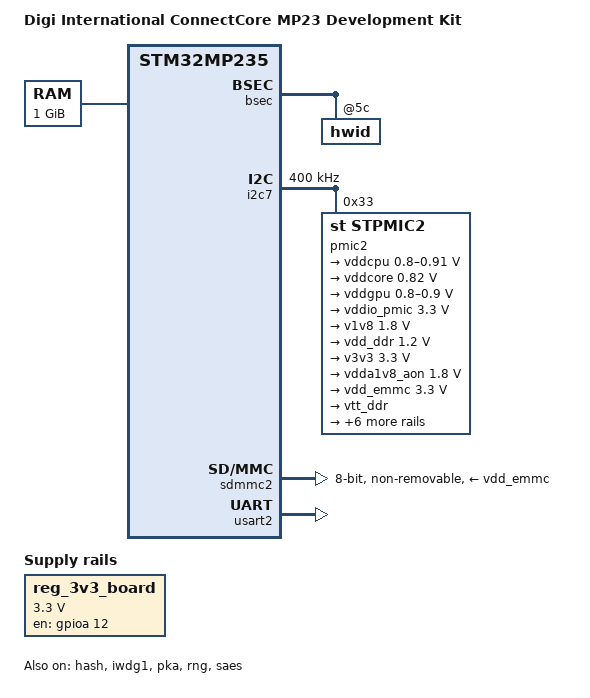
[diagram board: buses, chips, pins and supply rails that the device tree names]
// SPDX-License-Identifier: (GPL-2.0+ OR BSD-3-Clause)
/*
 * Copyright (C) STMicroelectronics 2023 - All Rights Reserved
 * Copyright (C) 2025, Digi International Inc - All Rights Reserved
 */

/dts-v1/;

#include <dt-bindings/clock/stm32mp25-clksrc.h>
#include "stm32mp235.dtsi"
#include "stm32mp23xf.dtsi"
#include "ccmp23-dvk-rcc.dtsi"
#include "stm32mp25-ddr4-1x8Gbits-1x16bits-1200MHz.dtsi"
#include "stm32mp23-pinctrl.dtsi"
#include "stm32mp25xxai-pinctrl.dtsi"

/ {
	model = "Digi International ConnectCore MP23 Development Kit";
	compatible = "digi,ccmp23-dvk", "digi,ccmp23", "st,stm32mp235";

	aliases {
		serial0 = &usart2;
	};

	chosen {
		stdout-path = "serial0:115200n8";
	};

	memory@80000000 {
		device_type = "memory";
		reg = <0x0 0x80000000 0x0 0x40000000>;
	};

	regulators {
		compatible = "simple-bus";
		#address-cells = <1>;
		#size-cells = <0>;

		reg_3v3_board: regulator-board@1 {
			compatible = "regulator-fixed";
			reg = <1>;
			regulator-name = "3v3_board";
			regulator-min-microvolt = <3300000>;
			regulator-max-microvolt = <3300000>;
			gpio = <&gpioa 12 0>; /* 3V3_BOARD_EN */
			enable-active-high;
			status = "okay";
		};
	};

	shadow-prov {
		compatible = "st,provisioning";

		hconf1_prov {
			nvmem-cells = <&hconf1_otp>;
			st,shadow-value = <0x00018000>;
		};
	};
};

&bsec {
	hwid: hwid@5c {
		reg = <0x5c 0xc>;
	};
};

&ddr {
	vdd-supply = <&vdd_ddr>;
	vtt-supply = <&vtt_ddr>;
	vpp-supply = <&vpp_ddr>;
	vref-supply = <&vref_ddr>;
};

&hash {
	status = "okay";
};

&i2c7 {
	pinctrl-names = "default";
	pinctrl-0 = <&i2c7_pins_a>;
	i2c-scl-rising-time-ns = <185>;
	i2c-scl-falling-time-ns = <20>;
	clock-frequency = <400000>;
	status = "okay";
	#address-cells = <1>;
	#size-cells = <0>;

	pmic2: stpmic@33 {
		compatible = "st,stpmic2";
		reg = <0x33>;
		status = "okay";

		regulators {
			compatible = "st,stpmic2-regulators";

			vddcpu: buck1 {
				regulator-name = "vddcpu";
				regulator-min-microvolt = <800000>;
				regulator-max-microvolt = <910000>;
				regulator-always-on;
			};
			vddcore: buck2 {
				regulator-name = "vddcore";
				regulator-min-microvolt = <820000>;
				regulator-max-microvolt = <820000>;
				regulator-always-on;
			};
			vddgpu: buck3 {
				regulator-name = "vddgpu";
				regulator-min-microvolt = <800000>;
				regulator-max-microvolt = <900000>;
				regulator-always-on;
			};
			vddio_pmic: buck4 {
				regulator-name = "vddio_pmic";
				regulator-min-microvolt = <3300000>;
				regulator-max-microvolt = <3300000>;
				regulator-always-on;
			};
			v1v8: buck5 {
				regulator-name = "v1v8";
				regulator-min-microvolt = <1800000>;
				regulator-max-microvolt = <1800000>;
				regulator-always-on;
			};
			vdd_ddr: buck6 {
				regulator-name = "vdd_ddr";
				regulator-min-microvolt = <1200000>;
				regulator-max-microvolt = <1200000>;
			};
			v3v3: buck7 {
				regulator-name = "v3v3";
				regulator-min-microvolt = <3300000>;
				regulator-max-microvolt = <3300000>;
				regulator-always-on;
			};
			vdda1v8_aon: ldo1 {
				regulator-name = "vdda1v8_aon";
				regulator-min-microvolt = <1800000>;
				regulator-max-microvolt = <1800000>;
				regulator-always-on;
			};
			vdd_emmc: ldo2 {
				regulator-name = "vdd_emmc";
				regulator-min-microvolt = <3300000>;
				regulator-max-microvolt = <3300000>;
				regulator-always-on;
			};
			vtt_ddr: ldo3 {
				regulator-name = "vtt_ddr";
				st,regulator-sink-source;
			};
			vdd3v3_usb: ldo4 {
				regulator-name = "vdd3v3_usb";
				regulator-min-microvolt = <3300000>;
				regulator-max-microvolt = <3300000>;
				regulator-always-on;
			};
			vpp_ddr: ldo5 {
				regulator-name = "vpp_ddr";
				regulator-min-microvolt = <2500000>;
				regulator-max-microvolt = <2500000>;
				regulator-enable-ramp-delay = <1000>;
			};
			ldo6: ldo6 {
				regulator-name = "ldo6";
				regulator-min-microvolt = <1500000>;
				regulator-max-microvolt = <1500000>;
			};
			ldo7: ldo7 {
				regulator-name = "ldo7";
				regulator-min-microvolt = <1800000>;
				regulator-max-microvolt = <1800000>;
			};
			ldo8_1v8_rf: ldo8 {
				regulator-name = "ldo8_1v8_rf";
				regulator-min-microvolt = <1800000>;
				regulator-max-microvolt = <1800000>;
			};
			vref_ddr: refddr {
				regulator-name = "vref_ddr";
			};
		};
	};
};

&iwdg1 {
	timeout-sec = <32>;
	status = "okay";
};

&pwr {
	vddio1: vddio1 {
		vddio1-supply = <&ldo8_1v8_rf>;
	};
	vddio2: vddio2 {
		vddio2-supply = <&v1v8>;
	};
	vddio3: vddio3 {
		vddio3-supply = <&vddio_pmic>;
	};
	vddio4: vddio4 {
		vddio4-supply = <&vddio_pmic>;
	};
	vddio: vddio {
		vdd-supply = <&vddio_pmic>;
	};
};

&pka {
	status = "okay";
};

&rng {
	status = "okay";
};

&saes {
	status = "okay";
};

/* Wireless */
&sdmmc1 {
	pinctrl-names = "default";
	pinctrl-0 = <&sdmmc1_b4_pins_a>;
	st,neg-edge;
	bus-width = <4>;
	vmmc-supply = <&reg_3v3_board>; /* card's VDD pin */
	vqmmc-supply = <&vddio1>; /* LDO8 - voltage used to pull up signal lines */
	status = "disabled";
};

/* eMMC */
&sdmmc2 {
	pinctrl-names = "default";
	pinctrl-0 = <&sdmmc2_b4_pins_a &sdmmc2_d47_pins_a>;
	non-removable;
	no-sd;
	no-sdio;
	st,neg-edge;
	bus-width = <8>;
	vmmc-supply = <&vdd_emmc>;
	vqmmc-supply = <&vddio2>;
	status = "okay";
};

/* Console A35 */
&usart2 {
	pinctrl-names = "default";
	pinctrl-0 = <&usart2_pins_a>;
	status = "okay";
};
